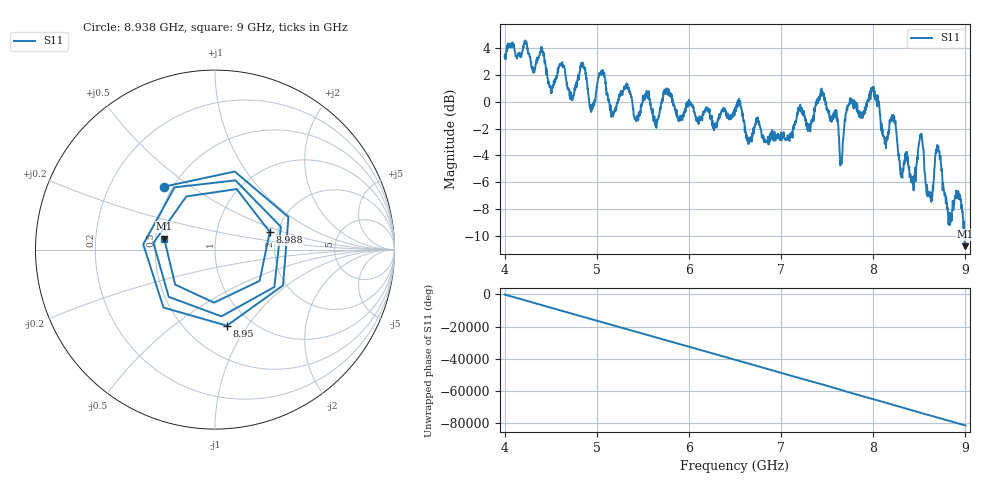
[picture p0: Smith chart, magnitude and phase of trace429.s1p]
! Created with skrf 1.8.0 (http://scikit-rf.org).
# Hz S RI R 50.0
!freq ReS11 ImS11
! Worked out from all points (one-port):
!   1601 points, 4 GHz to 9 GHz, reference 50 ohm
!   lowest |S11| = -10.8 dB at 9 GHz (marker M1), VSWR 1.82, Z = 27.8 + j3.74 ohm
!   |S11| at or under -10 dB: 8.988761 GHz to end of sweep
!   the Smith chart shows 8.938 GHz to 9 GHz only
!   S11 on the Smith chart (normalised r, x): 8.938 GHz: 0.45, +0.40; 8.95 GHz: 0.78, -0.81; 8.988 GHz: 1.82, +0.40; 9 GHz: 0.56, +0.07
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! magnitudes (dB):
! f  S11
! 4 GHz  3.4
! 4.403 GHz  3.9
! 4.506 GHz  0.8
! 4.625 GHz  3.0
! 4.731 GHz  0.1
! 4.85 GHz  2.7
! 4.944 GHz  -0.2
! 5.05 GHz  2.0
! 5.166 GHz  -0.8
! 5.25 GHz  0.5
! 5.875 GHz  -1.2
! 6.5 GHz  -0.7
! 6.656 GHz  -2.7
! 7.125 GHz  -2.7
! 7.447 GHz  0.7
! 7.653 GHz  -4.4
! 7.75 GHz  0.2
! 8 GHz  0.9
! 8.375 GHz  -4.1
! 8.438 GHz  -6.6
! 8.522 GHz  -2.4
! 8.616 GHz  -7.1
! 8.703 GHz  -3.5
! 8.825 GHz  -9.1
! 8.938 GHz  -6.9
! 8.95 GHz  -7.4
! 8.988 GHz  -9.9
! 9 GHz  -10.8
